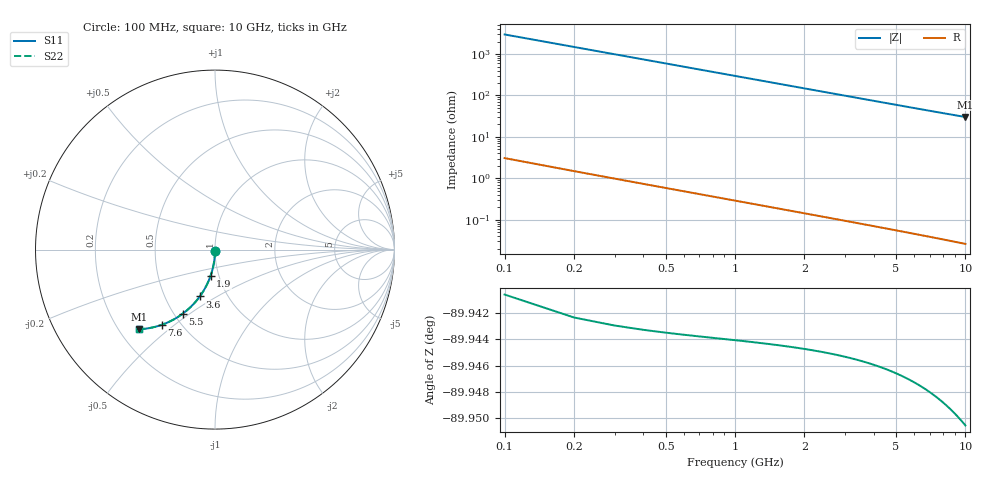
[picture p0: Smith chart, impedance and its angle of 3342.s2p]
# Hz S RI R 50.00
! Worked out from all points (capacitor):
!   100 points, 100 MHz to 10 GHz, reference 50 ohm
!   read as one part in shunt: C = 536 fF near 100 MHz
!   lowest |Z| = 30.2 ohm at 10 GHz (marker M1)
!   S11 on the Smith chart (normalised r, x): 100 MHz: 1.00, -0.02; 1.9 GHz: 0.91, -0.27; 3.6 GHz: 0.74, -0.42; 5.5 GHz: 0.55, -0.47; 7.6 GHz: 0.40, -0.45; 10 GHz: 0.28, -0.40
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1e8  5.43e-05 -0.00793  0.9998 -0.00891  0.9998 -0.00891  5.43e-05 -0.00793
2e8  -0.000165 -0.0159  0.9996 -0.0178  0.9996 -0.0178  -0.000165 -0.0159
3e8  -0.000525 -0.0238  0.9992 -0.0267  0.9992 -0.0267  -0.000525 -0.0238
4e8  -0.00103 -0.0317  0.9987 -0.0356  0.9987 -0.0356  -0.00103 -0.0317
5e8  -0.00167 -0.0396  0.998 -0.0445  0.998 -0.0445  -0.00167 -0.0396
6e8  -0.00245 -0.0475  0.9973 -0.0533  0.9973 -0.0533  -0.00245 -0.0475
8e8  -0.00443 -0.0632  0.9953 -0.071  0.9953 -0.071  -0.00443 -0.0632
1.1e9  -0.00844 -0.0865  0.9912 -0.0973  0.9912 -0.0973  -0.00844 -0.0865
1.4e9  -0.0137 -0.1095  0.986 -0.1232  0.986 -0.1232  -0.0137 -0.1095
1.8e9  -0.0224 -0.1395  0.9771 -0.1572  0.9771 -0.1572  -0.0224 -0.1395
1.9e9  -0.025 -0.1469  0.9746 -0.1655  0.9746 -0.1655  -0.025 -0.1469
2.2e9  -0.0332 -0.1686  0.9663 -0.1902  0.9663 -0.1902  -0.0332 -0.1686
2.6e9  -0.0459 -0.1966  0.9535 -0.2221  0.9535 -0.2221  -0.0459 -0.1966
3.4e9  -0.0762 -0.2487  0.923 -0.2822  0.923 -0.2822  -0.0762 -0.2487
3.6e9  -0.0847 -0.2609  0.9144 -0.2963  0.9144 -0.2963  -0.0847 -0.2609
4.3e9  -0.1169 -0.3003  0.8819 -0.3427  0.8819 -0.3427  -0.1169 -0.3003
5.1e9  -0.1574 -0.3392  0.841 -0.3896  0.841 -0.3896  -0.1574 -0.3392
5.5e9  -0.1788 -0.3562  0.8194 -0.4106  0.8194 -0.4106  -0.1788 -0.3562
6.7e9  -0.2453 -0.3972  0.7522 -0.4638  0.7522 -0.4638  -0.2453 -0.3972
7.6e9  -0.2958 -0.4187  0.701 -0.4945  0.701 -0.4945  -0.2958 -0.4187
8.4e9  -0.3401 -0.4319  0.656 -0.5159  0.656 -0.5159  -0.3401 -0.4319
1e10  -0.4244 -0.4438  0.5702 -0.5445  0.5702 -0.5445  -0.4244 -0.4438
